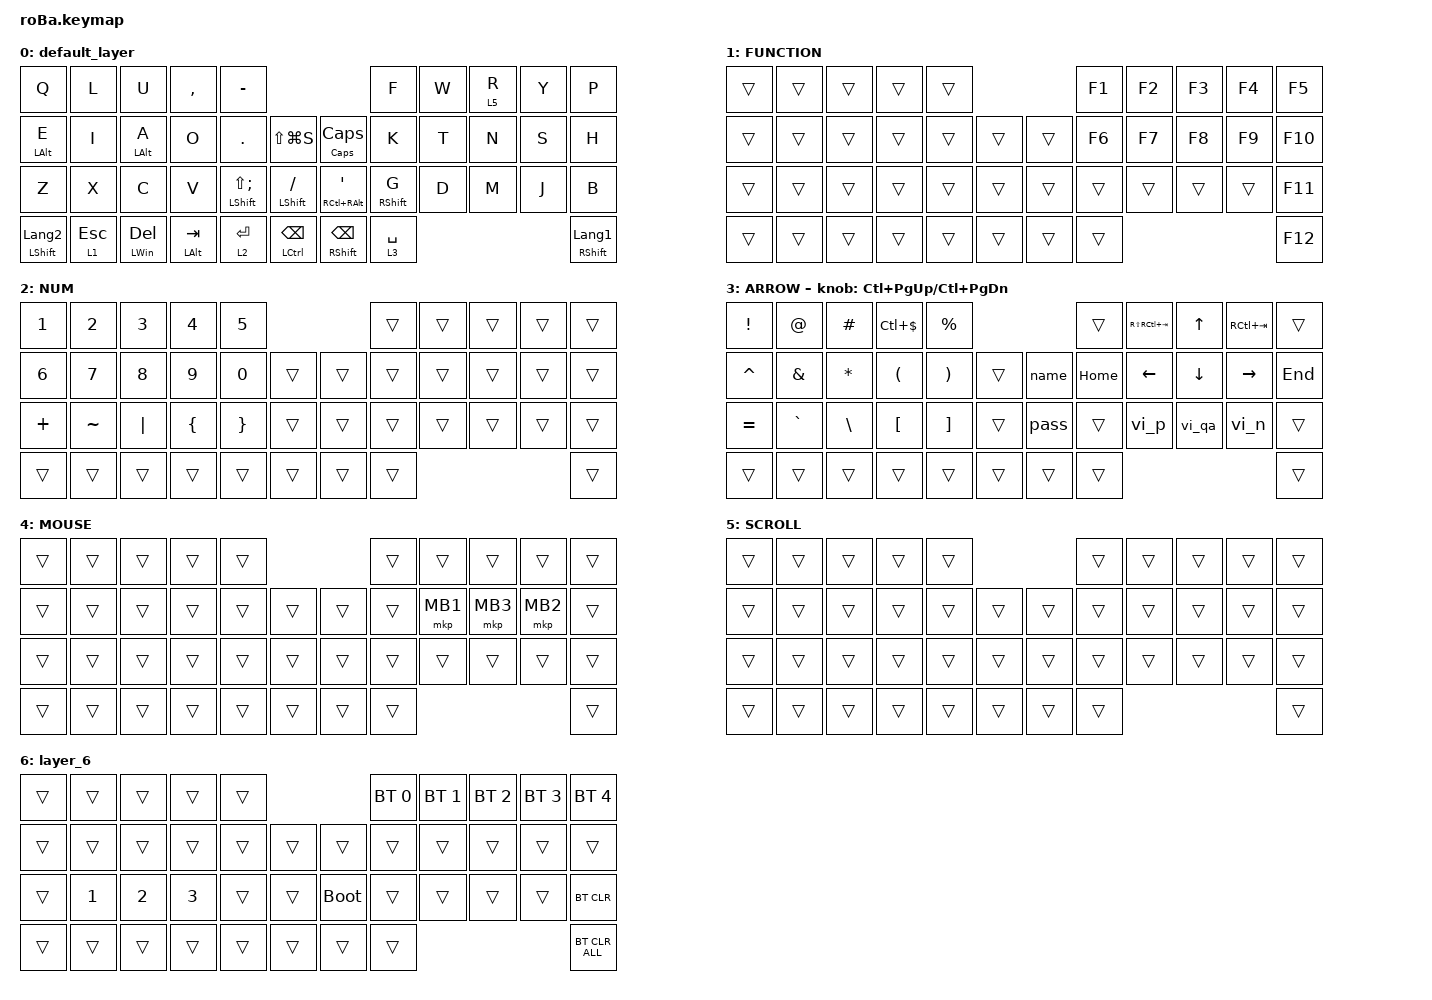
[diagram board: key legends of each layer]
#include <behaviors.dtsi>
#include <dt-bindings/zmk/bt.h>
#include <dt-bindings/zmk/keys.h>
#include <dt-bindings/zmk/pointing.h>

#define MOUSE 4
#define SCROLL 5
#define NUM 6

&mt {
    flavor = "balanced";
    quick-tap-ms = <0>;
};

/ {
    combos {
        compatible = "zmk,combos";

        tab {
            bindings = <&kp TAB>;
            key-positions = <11 12>;
        };

        shift_tab {
            bindings = <&kp LS(TAB)>;
            key-positions = <12 13>;
        };

        muhennkann {
            bindings = <&to_layer_0 INT_MUHENKAN>;
            key-positions = <11 10>;
        };

        double_quotation {
            bindings = <&kp DOUBLE_QUOTES>;
            key-positions = <20 21>;
        };

        eq {
            bindings = <&kp EQUAL>;
            key-positions = <24 25>;
        };
    };

    macros {
        to_layer_0: to_layer_0 {
            compatible = "zmk,behavior-macro-one-param";
            #binding-cells = <1>;
            bindings = <&to 0 &macro_param_1to1 &kp MACRO_PLACEHOLDER>;
            label = "TO_LAYER_0";
        };

        vi_p: vi_p {
            compatible = "zmk,behavior-macro";
            #binding-cells = <0>;
            bindings = <&kp LANGUAGE_2 &kp COLON &kp P &kp R &kp E &kp V &kp I &kp O &kp U &kp S>;
            label = "VI_P";
        };

        vi_n: vi_n {
            compatible = "zmk,behavior-macro";
            #binding-cells = <0>;
            bindings = <&kp LANGUAGE_2 &kp COLON &kp N>;
            label = "VI_N";
        };

        vi_qa: vi_qa {
            compatible = "zmk,behavior-macro";
            #binding-cells = <0>;
            bindings = <&kp LANGUAGE_2 &kp COLON &kp Q &kp A>;
            label = "VI_QA";
        };

        name: name {
            compatible = "zmk,behavior-macro";
            #binding-cells = <0>;
            bindings = <&kp LANGUAGE_2 &kp A &kp K &kp Y &kp O &kp G &kp O &kp K &kp U>;
            label = "NAME";
        };

        pass: pass {
            compatible = "zmk,behavior-macro";
            #binding-cells = <0>;
            bindings = <&kp LANGUAGE_2 &kp M &kp NUMBER_1 &kp N9 &kp N9 &kp N8 &kp NUMBER_1 &kp NUMBER_2 &kp N0 &kp NUMBER_4 &kp H &kp NUMBER_1 &kp N0 &kp RS(K) &kp LS(A) &kp SLASH>;
            label = "PASS";
        };
    };

    behaviors {
        lt_to_layer_0: lt_to_layer_0 {
            compatible = "zmk,behavior-hold-tap";
            label = "LAYER_TAP_TO_0";
            bindings = <&mo>, <&to_layer_0>;

            #binding-cells = <2>;
            tapping-term-ms = <200>;
        };
    };

    keymap {
        compatible = "zmk,keymap";

        default_layer {
            bindings = <
&kp Q                 &kp L      &kp U                &kp COMMA         &kp MINUS                                                                           &kp F        &kp W  &lt 5 R  &kp Y  &kp P
&mt LEFT_ALT E        &kp I      &mt LALT A           &kp O             &kp PERIOD          &kp LS(LG(S))                   &mt CAPSLOCK CAPS               &kp K        &kp T  &kp N    &kp S  &kp H
&kp Z                 &kp X      &kp C                &kp V             &mt LSHFT LS(SEMI)  &mt LSHFT SLASH                 &mt RC(RIGHT_ALT) SINGLE_QUOTE  &mt RSHFT G  &kp D  &kp M    &kp J  &kp B
&mt LSHFT LANGUAGE_2  &lt 1 ESC  &mt LEFT_WIN DELETE  &mt LEFT_ALT TAB  &lt 2 ENTER         &mt LEFT_CONTROL BACKSPACE      &mt RSHIFT BACKSPACE            &lt 3 SPACE                         &mt RSHFT LANGUAGE_1
            >;
        };

        FUNCTION {
            bindings = <
&trans  &trans  &trans  &trans  &trans                      &kp F1  &kp F2  &kp F3  &kp F4  &kp F5
&trans  &trans  &trans  &trans  &trans  &trans      &trans  &kp F6  &kp F7  &kp F8  &kp F9  &kp F10
&trans  &trans  &trans  &trans  &trans  &trans      &trans  &trans  &trans  &trans  &trans  &kp F11
&trans  &trans  &trans  &trans  &trans  &trans      &trans  &trans                          &kp F12
            >;
        };

        NUM {
            bindings = <
&kp NUMBER_1  &kp NUMBER_2  &kp NUMBER_3  &kp NUMBER_4    &kp NUMBER_5                         &trans  &trans  &trans  &trans  &trans
&kp NUMBER_6  &kp N7        &kp N8        &kp NUMBER_9    &kp NUMBER_0     &trans      &trans  &trans  &trans  &trans  &trans  &trans
&kp PLUS      &kp TILDE     &kp PIPE      &kp LEFT_BRACE  &kp RIGHT_BRACE  &trans      &trans  &trans  &trans  &trans  &trans  &trans
&trans        &trans        &trans        &trans          &trans           &trans      &trans  &trans                          &trans
            >;
        };

        ARROW {
            bindings = <
&kp EXCLAMATION  &kp AT_SIGN    &kp HASH       &kp LC(DOLLAR)        &kp PERCENT                                &trans    &kp RS(RC(TAB))  &kp UP_ARROW    &kp RC(TAB)      &trans
&kp CARET        &kp AMPERSAND  &kp ASTERISK   &kp LEFT_PARENTHESIS  &kp RIGHT_PARENTHESIS  &trans      &name   &kp HOME  &kp LEFT_ARROW   &kp DOWN_ARROW  &kp RIGHT_ARROW  &kp END
&kp EQUAL        &kp GRAVE      &kp BACKSLASH  &kp LEFT_BRACKET      &kp RIGHT_BRACKET      &trans      &pass   &trans    &vi_p            &vi_qa          &vi_n            &trans
&trans           &trans         &trans         &trans                &trans                 &trans      &trans  &trans                                                      &trans
            >;

            sensor-bindings = <&inc_dec_kp LC(PAGE_UP) LC(PAGE_DOWN)>;
        };

        MOUSE {
            bindings = <
&trans  &trans  &trans  &trans  &trans                      &trans  &trans    &trans    &trans    &trans
&trans  &trans  &trans  &trans  &trans  &trans      &trans  &trans  &mkp MB1  &mkp MB3  &mkp MB2  &trans
&trans  &trans  &trans  &trans  &trans  &trans      &trans  &trans  &trans    &trans    &trans    &trans
&trans  &trans  &trans  &trans  &trans  &trans      &trans  &trans                                &trans
            >;
        };

        SCROLL {
            bindings = <
&trans  &trans  &trans  &trans  &trans                      &trans  &trans  &trans  &trans  &trans
&trans  &trans  &trans  &trans  &trans  &trans      &trans  &trans  &trans  &trans  &trans  &trans
&trans  &trans  &trans  &trans  &trans  &trans      &trans  &trans  &trans  &trans  &trans  &trans
&trans  &trans  &trans  &trans  &trans  &trans      &trans  &trans                          &trans
            >;
        };

        layer_6 {
            bindings = <
&trans  &trans        &trans        &trans        &trans                           &bt BT_SEL 0  &bt BT_SEL 1  &bt BT_SEL 2  &bt BT_SEL 3  &bt BT_SEL 4
&trans  &trans        &trans        &trans        &trans  &trans      &trans       &trans        &trans        &trans        &trans        &trans
&trans  &kp NUMBER_1  &kp NUMBER_2  &kp NUMBER_3  &trans  &trans      &bootloader  &trans        &trans        &trans        &trans        &bt BT_CLR
&trans  &trans        &trans        &trans        &trans  &trans      &trans       &trans                                                  &bt BT_CLR_ALL
            >;
        };
    };
};
